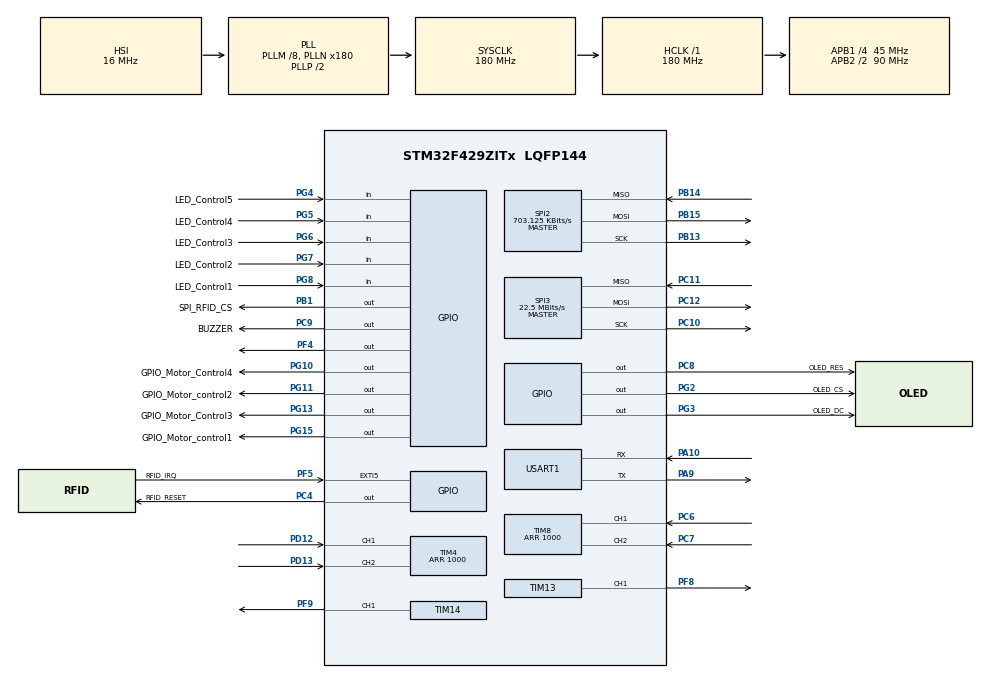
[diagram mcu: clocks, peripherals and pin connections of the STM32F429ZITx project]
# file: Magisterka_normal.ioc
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Mcu.Family=STM32F4
Mcu.Name=STM32F429ZITx
Mcu.Package=LQFP144
NVIC.PriorityGroup=NVIC_PRIORITYGROUP_4
NVIC.TIM8_BRK_TIM12_IRQn=true\:0\:0\:false\:true\:true\:1\:true\:true
NVIC.USART1_IRQn=true\:0\:0\:false\:true\:true\:2\:true\:true
PA10.Mode=Asynchronous
PA10.Signal=USART1_RX
PA13.Mode=Serial_Wire
PA13.Signal=SYS_JTMS-SWDIO
PA14.Mode=Serial_Wire
PA14.Signal=SYS_JTCK-SWCLK
PA9.Mode=Asynchronous
PA9.Signal=USART1_TX
PB1.GPIO_Label=SPI_RFID_CS
PB1.GPIO_PuPd=GPIO_PULLUP
PB1.Signal=GPIO_Output
PB13.Mode=Full_Duplex_Master
PB13.Signal=SPI2_SCK
PB14.Mode=Full_Duplex_Master
PB14.Signal=SPI2_MISO
PB15.Mode=Full_Duplex_Master
PB15.Signal=SPI2_MOSI
PC10.Mode=Full_Duplex_Master
PC10.Signal=SPI3_SCK
PC11.Mode=Full_Duplex_Master
PC11.Signal=SPI3_MISO
PC12.Mode=Full_Duplex_Master
PC12.Signal=SPI3_MOSI
PC4.GPIO_Label=RFID_RESET
PC4.GPIO_PuPd=GPIO_PULLUP
PC4.PinState=GPIO_PIN_SET
PC4.Signal=GPIO_Output
PC6.Signal=S_TIM8_CH1
PC7.Signal=S_TIM8_CH2
PC8.GPIO_Label=OLED_RES
PC8.Signal=GPIO_Output
PC9.GPIO_Label=BUZZER
PC9.PinState=GPIO_PIN_SET
PC9.Signal=GPIO_Output
PD12.Signal=S_TIM4_CH1
PD13.Signal=S_TIM4_CH2
PF4.GPIO_PuPd=GPIO_PULLUP
PF4.PinState=GPIO_PIN_SET
PF4.Signal=GPIO_Output
PF5.GPIO_Label=RFID_IRQ
PF5.Signal=GPXTI5
PF8.Signal=S_TIM13_CH1
PF9.Signal=S_TIM14_CH1
PG10.GPIO_Label=GPIO_Motor_Control4
PG10.Signal=GPIO_Output
PG11.GPIO_Label=GPIO_Motor_control2
PG11.Signal=GPIO_Output
PG13.GPIO_Label=GPIO_Motor_Control3
PG13.Signal=GPIO_Output
PG15.GPIO_Label=GPIO_Motor_control1
PG15.Signal=GPIO_Output
PG2.GPIO_Label=OLED_CS
PG2.Signal=GPIO_Output
PG3.GPIO_Label=OLED_DC
PG3.Signal=GPIO_Output
PG4.GPIO_Label=LED_Control5
PG4.Signal=GPIO_Input
PG5.GPIO_Label=LED_Control4
PG5.Signal=GPIO_Input
PG6.GPIO_Label=LED_Control3
PG6.Signal=GPIO_Input
PG7.GPIO_Label=LED_Control2
PG7.Signal=GPIO_Input
PG8.GPIO_Label=LED_Control1
PG8.Signal=GPIO_Input
ProjectManager.HeapSize=0x200
ProjectManager.StackSize=0x400
ProjectManager.TargetToolchain=TrueSTUDIO
RCC.48MHZClocksFreq_Value=90000000
RCC.AHBFreq_Value=180000000
RCC.APB1CLKDivider=RCC_HCLK_DIV4
RCC.APB1Freq_Value=45000000
RCC.APB1TimFreq_Value=90000000
RCC.APB2CLKDivider=RCC_HCLK_DIV2
RCC.APB2Freq_Value=90000000
RCC.APB2TimFreq_Value=180000000
RCC.CortexFreq_Value=180000000
RCC.HCLKFreq_Value=180000000
RCC.HSE_VALUE=25000000
RCC.HSI_VALUE=16000000
RCC.LSE_VALUE=32768
RCC.PLLM=8
RCC.PLLN=180
RCC.SYSCLKFreq_VALUE=180000000
RCC.SYSCLKSource=RCC_SYSCLKSOURCE_PLLCLK
RCC.VCOOutputFreq_Value=360000000
SH.S_TIM13_CH1.0=TIM13_CH1,PWM Generation1 CH1
SH.S_TIM14_CH1.0=TIM14_CH1,PWM Generation1 CH1
SH.S_TIM4_CH1.0=TIM4_CH1,Encoder_Interface
SH.S_TIM4_CH2.0=TIM4_CH2,Encoder_Interface
SH.S_TIM8_CH1.0=TIM8_CH1,Encoder_Interface
SH.S_TIM8_CH2.0=TIM8_CH2,Encoder_Interface
SPI2.BaudRatePrescaler=SPI_BAUDRATEPRESCALER_64
SPI2.CalculateBaudRate=703.125 KBits/s
SPI2.Direction=SPI_DIRECTION_2LINES
SPI2.Mode=SPI_MODE_MASTER
SPI2.VirtualType=VM_MASTER
SPI3.CalculateBaudRate=22.5 MBits/s
SPI3.Direction=SPI_DIRECTION_2LINES
SPI3.Mode=SPI_MODE_MASTER
SPI3.VirtualType=VM_MASTER
TIM12.AutoReloadPreload=TIM_AUTORELOAD_PRELOAD_ENABLE
TIM12.ClockDivision=TIM_CLOCKDIVISION_DIV2
TIM12.Period=1
TIM12.Prescaler=40000-1
TIM13.AutoReloadPreload=TIM_AUTORELOAD_PRELOAD_ENABLE
TIM13.Channel=TIM_CHANNEL_1
TIM13.ClockDivision=TIM_CLOCKDIVISION_DIV4
TIM13.Period=100
TIM13.Prescaler=45-1
TIM13.Pulse=80
TIM14.AutoReloadPreload=TIM_AUTORELOAD_PRELOAD_ENABLE
TIM14.Channel=TIM_CHANNEL_1
TIM14.ClockDivision=TIM_CLOCKDIVISION_DIV4
TIM14.Period=100
TIM14.Prescaler=45-1
TIM14.Pulse=80
TIM4.EncoderMode=TIM_ENCODERMODE_TI12
TIM4.IC1Filter=15
TIM4.IC1Prescaler=TIM_ICPSC_DIV1
TIM4.IC2Filter=15
TIM4.IC2Prescaler=TIM_ICPSC_DIV1
TIM4.Period=1000
TIM8.EncoderMode=TIM_ENCODERMODE_TI12
TIM8.IC1Filter=15
TIM8.IC2Filter=15
TIM8.Period=1000
USART1.VirtualMode=VM_ASYNC
VP_TIM12_VS_ClockSourceINT.Mode=Internal
VP_TIM13_VS_ClockSourceINT.Mode=Enable_Timer
VP_TIM14_VS_ClockSourceINT.Mode=Enable_Timer
board=custom

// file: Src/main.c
/* USER CODE BEGIN Header */
/**
 ******************************************************************************
 * @file           : main.c
 * @brief          : Main program body
 ******************************************************************************
 * @attention
 *
 * <h2><center>&copy; Copyright (c) 2019 STMicroelectronics.
 * All rights reserved.</center></h2>
 *
 * This software component is licensed by ST under BSD 3-Clause license,
 * the "License"; You may not use this file except in compliance with the
 * License. You may obtain a copy of the License at:
 *                        opensource.org/licenses/BSD-3-Clause
 *
 ******************************************************************************
 */
/* USER CODE END Header */

#include "main.h"
#include "gfxsimulator.h"
#include "spi.h"
#include "tim.h"
#include "usart.h"
#include "gpio.h"

/* USER CODE BEGIN Includes */
#include "SSD1306.h"
#include "Motor_Control.h"
#include "LED_Strip.h"
#include "RC522_driver.h"
#include "ESP_8266_driver.h"
#include "FIFO_driver.h"
#include "DEVICE_driver.h"
#include "string.h"
#include "stdbool.h"
/* USER CODE END Includes */

/* USER CODE BEGIN PV */

volatile double error1;
volatile double error2;
volatile uint8_t FlagPID;
volatile uint16_t Flag_read_card;
volatile uint8_t FlagRead_LedStrip;

volatile int16_t speed = 5;

// variable RFID
unsigned char CardID[4];
unsigned char MyID[4] =
{ 0x6A, 0x08, 0xE7, 0xAB }; //My card on my keys

uint8_t data[50];
uint16_t RFID_size = 0;

/////////ESP
uint8_t Received[100];
bool timeouted;

uint8_t NumberOfTags = 6;
uint8_t TempSectorData[4] =
{ 0xAA, 0xAA, 0xAA, 0xAA };
uint8_t TempData[32];
uint8_t TempTagsData[] =
{ 1, 2, 3, 4, 5, 6, 7, 8, 9, 10, 11, 12, 13, 14, 15, 16, 17, 18, 19, 20, 21, 22,
    23, 24 };

PROTOCOL_FrameTypeDef p_frame;

/**
 * FIFO buffers
 */
volatile uint8_t Fifo_Tx[FIFO_BUF_SIZE];
volatile uint8_t Fifo_Rx[FIFO_BUF_SIZE];
FIFO_ApiTypeDef FIFO_TX =
{ Fifo_Tx, 0, 0, 0, FIFO_BUF_SIZE };
FIFO_ApiTypeDef FIFO_RX =
{ Fifo_Rx, 0, 0, 0, FIFO_BUF_SIZE };

/**
 * Linear Buffers
 */
uint8_t LinBuff[FIFO_BUF_SIZE];
uint8_t TagData[FIFO_BUF_SIZE];
PROTOCOL_LinearBuffer_ApiTypeDef LinearBuffer =
{ LinBuff, 0,
FIFO_BUF_SIZE };
PROTOCOL_LinearBuffer_ApiTypeDef TagDataStuct =
{ TagData, 0,
FIFO_BUF_SIZE };
////////
/* USER CODE END PV */

void SystemClock_Config(void);
void MX_NVIC_Init(void);
/* USER CODE BEGIN PFP */
void HAL_UART_RxCpltCallback(UART_HandleTypeDef *huart) {
  if (USART1 == huart->Instance)
  {

    FIFO_PutByte(&FIFO_RX, *Received);
    if (FIFO_RX.length > 16)
    {
    }
    HAL_UART_Receive_IT(&huart1, Received, 1); // Ponowne w³¹czenie nas³uchiwania
  }
}

void PrepareFrame(uint8_t* data, uint8_t cmd) {
  p_frame.header.dst_address = BROADCAST_ADDRESS;
  p_frame.header.src_address = DEVICE_ADDRESS;
//  PROTOCOL_FrameTypeDef* temp = (PROTOCOL_FrameTypeDef*)data;
  p_frame.header.length = sizeof(PROTOCOL_HeaderTypeDef) + (sizeof(data));
  p_frame.header.command = cmd;
  p_frame.header.response = true;
  uint8_t size = strlen(data);
  memcpy(p_frame.resp_payload.get_data_payload.tags_data, data, size);

}
/* USER CODE END PFP */

/* USER CODE BEGIN 0 */
Motor_InitTypeDef MotorRight;
Motor_InitTypeDef MotorLeft;
MotorPID_InitTypeDef MotorPID_Left;
MotorPID_InitTypeDef MotorPID_Right;
LedStrip_InitTypeDef LedStrip;
LedStrip_Speed_InitTypeDef LedStrip_Speed;
volatile uint8_t watek1, watek2, watek3;
/* USER CODE END 0 */

int main(void) {

  /* MCU Configuration--------------------------------------------------------*/

  /* Reset of all peripherals, Initializes the Flash interface and the Systick. */
  HAL_Init();

  /* Configure the system clock */
  SystemClock_Config();

  /* USER CODE BEGIN SysInit */
  if (SysTick_Config(SystemCoreClock / 1000))
  {
    while (1)
      ;
  }
  /* USER CODE END SysInit */

  /* Initialize all configured peripherals */
  MX_GPIO_Init();
  MX_SPI3_Init();
  MX_TIM13_Init();
  MX_TIM14_Init();
  MX_TIM4_Init();
  MX_TIM8_Init();
  MX_TIM12_Init();
  MX_SPI2_Init();
  MX_USART1_UART_Init();
  MX_GFXSIMULATOR_Init();

  /* Initialize interrupts */
  MX_NVIC_Init();
  /* USER CODE BEGIN 2 */

  ssd1306_init();
  ssd1306_clear_screen(0xFF);
  HAL_Delay(1000);
  ssd1306_clear_screen(0x00);
  ssd1306_hello_word();

  printf("Start\n");
  ITM_SendChar('A');

  HAL_TIM_PWM_Start(&htim13, TIM_CHANNEL_1);
  HAL_TIM_PWM_Start(&htim14, TIM_CHANNEL_1);
  HAL_TIM_Encoder_Start(&htim4, TIM_CHANNEL_ALL);
  HAL_TIM_Encoder_Start(&htim8, TIM_CHANNEL_ALL);

  vLedStrip_Init(&LedStrip);
  vMotor_init(&MotorLeft, &MotorRight);
  vMotorPID_init(&MotorPID_Left, &MotorPID_Right);

  HAL_Delay(2000);

  HAL_NVIC_EnableIRQ(TIM8_BRK_TIM12_IRQn);
  HAL_TIM_Base_Start_IT(&htim12);

  MotorPID_Left.ValueTask = MotorPID_Right.ValueTask = 0;

  HAL_GPIO_WritePin(RFID_RESET_GPIO_Port, RFID_RESET_Pin, SET);

  MFRC522_Init();

  /**
   *  ESP_8266_Init
   */
//  myESP_8266_InitClient(1,"_NETWORK","1QWERTY7",SERVER_PORT);
  myESP_8266_InitClient(1, "ESP8266_EMPE", "1QWERTY7", SERVER_PORT);

  HAL_Delay(1000);

  HAL_StatusTypeDef status = HAL_ERROR;
  HAL_UART_Receive_IT(&huart1, Received, 1);
  FIFO_Clear(&FIFO_RX);
  PROTOCOL_LinBuffClr(&LinearBuffer);

  /*reset TempData */
    memset(TempData, 0x0, sizeof(TempData));
    /* write sektor */
    memcpy(TempData, TempSectorData, sizeof(TempSectorData));
    /* write number of tags */
    memcpy(TempData + sizeof(TempSectorData), &NumberOfTags,
        sizeof(NumberOfTags));
    /* write tags */
    memcpy(TempData + (sizeof(TempSectorData) + sizeof(NumberOfTags)),
        &TempTagsData, sizeof(TempData));
  /* USER CODE END 2 */

  /* Infinite loop */
  while (1)
  {

    /* USER CODE BEGIN 3 */
    //////////////////ESP////////////////////////
    status = PROTOCOL_GetDataFromFifo();
    if (HAL_OK == status)
    {
      status = PROTOCOL_CheckFrame(&LinearBuffer);
    }
    if (HAL_OK == status)
    {
      PROTOCOL_FrameTypeDef* pRecFrame =
          (PROTOCOL_FrameTypeDef*) LinearBuffer.p_lin_buffer;
      switch (pRecFrame->header.command)
      {
      case CMD_STOP:
        myESP8266_SendFrame((uint8_t*)"\r\nRobot CMD_STOP!!\r\n", SERVER_PORT);
        break;
      case CMD_START:
        myESP8266_SendFrame((uint8_t*)"\r\nRobot CMD_START!!\r\n", SERVER_PORT);
        break;
      case CMD_STATUS:
        myESP8266_SendFrame((uint8_t*)"\r\nOK Robot CMD_STATUS!!\r\n", SERVER_PORT);
        break;
      case CMD_CONFIG:
        myESP8266_SendFrame((uint8_t*)"\r\nOK Robot CMD_CONFIG!!\r\n", SERVER_PORT);
        break;
      case CMD_GET_DATA:
//        myESP8266_SendFrame((uint8_t*)"\r\nOK Robot CMD_GET_DATA!!\r\n", SERVER_PORT);
//        PrepareFrame(TempData, CMD_GET_DATA);
//        HAL_UART_Transmit(&esp_uart, &p_frame, p_frame.header.length, 1000);
         HAL_UART_Transmit(&esp_uart, "FFFFcostamAbyDzialaloAAA", strlen("FFFFcostamAbyDzialaloAAA"), 1000);

        break;
      default:
        myESP8266_SendFrame((uint8_t*)"\r\nHello Server, I am STM32 !!\r\n", SERVER_PORT);
        break;
      }
      HAL_Delay(200);
      myESP8266_SendEnd();
      FIFO_Clear(&FIFO_RX);
      PROTOCOL_LinBuffClr(&LinearBuffer);
      status = HAL_ERROR;
    }
    /////////////////ESP_END///////////////////

//////////////////////CLOSE_READ_RFID////////////////////////////////
    if (Flag_Close_RFID > 5000)
    {
      Flag_Close_RFID = 0;
      Semaphor_CloseRFID = 0;
      Semaphor_NoReadRFID = 1;
      Count_NoReadRFID++;
    }
////////END///////////CLOSE_READ_RFID///////////END/////////////////
////////////////RFID///////////////////////
    if (Flag_read_card > 250)
    {
      watek1 = 1;
      Flag_read_card = 0;
      if (MFRC522_Check(CardID) == MI_OK)
      {
        Semaphor_CloseRFID = 0;
        Count_NoReadRFID = 0;
        Semaphor_NoReadRFID = 0;
        Flag_Close_RFID = 0;
        /*
         */
        myESP8266_SendFrame((uint8_t*)"\r\nOK Robot CMD_GET_DATA!!\r\n", SERVER_PORT);
               PrepareFrame(CardID, CMD_GET_DATA);
               HAL_UART_Transmit(&esp_uart, &p_frame, p_frame.header.length, 1000);
        /*
         */
        printf("[%02x-%02x-%02x-%02x] \r\n", CardID[0], CardID[1], CardID[2],
            CardID[3]);
        for (int var = 0; var < 15; ++var)
        {
          HAL_GPIO_TogglePin(BUZZER_GPIO_Port, BUZZER_Pin);
          HAL_Delay(5);
        }
        HAL_GPIO_WritePin(BUZZER_GPIO_Port, BUZZER_Pin, SET);
      } else
      {
        printf("Nie wykryto karty \r\n");
      }
      watek1 = 0;
    }

////////////////RFID_END///////////////////////

    if (FlagRead_LedStrip >= 10)
    {
      watek2 = 1;
      FlagRead_LedStrip = 0;
      vLedStrip_ReadStatus(&LedStrip);
      LedStrip_Speed = vLed_control(&LedStrip, Semaphor_NoReadRFID);
      if ((speed + LedStrip_Speed.LeftSpeed) >= 0)
      {
        MotorPID_Left.ValueTask = speed + LedStrip_Speed.LeftSpeed;
      } else
      {
        MotorPID_Left.ValueTask = 0;
      }
      if ((speed + LedStrip_Speed.RightSpeed) >= 0)
      {
        MotorPID_Right.ValueTask = speed + LedStrip_Speed.RightSpeed;
      } else
      {
        MotorPID_Right.ValueTask = 0;
      }
      vMotorAction_LedStrip(&MotorLeft, &MotorRight, LedStrip_Speed.Action);

      watek2 = 0;
    }

    if (FlagPID >= 10)
    {
      watek3 = 1;
      FlagPID = 0;
      vMotorPID_Control(&MotorPID_Left, &MotorLeft);
      vMotorPID_Control(&MotorPID_Right, &MotorRight);

      error1 = MotorPID_Left.ExecutionValue;
      error2 = MotorPID_Right.ExecutionValue;

      vMotor_SetPWM(&MotorLeft, error1);
      vMotor_SetPWM(&MotorRight, error2);

      vClearCounter(MotorLeft.Tim_Encoder);
      vClearCounter(MotorRight.Tim_Encoder);

      watek3 = 0;
    }
  }
  /* USER CODE END 3 */
}

void SystemClock_Config(void) {
  RCC_OscInitTypeDef RCC_OscInitStruct =
  { 0 };
  RCC_ClkInitTypeDef RCC_ClkInitStruct =
  { 0 };

  /** Configure the main internal regulator output voltage
   */
  __HAL_RCC_PWR_CLK_ENABLE()
  ;
  __HAL_PWR_VOLTAGESCALING_CONFIG(PWR_REGULATOR_VOLTAGE_SCALE1);
  /** Initializes the CPU, AHB and APB busses clocks
   */
  RCC_OscInitStruct.OscillatorType = RCC_OSCILLATORTYPE_HSI;
  RCC_OscInitStruct.HSIState = RCC_HSI_ON;
  RCC_OscInitStruct.HSICalibrationValue = RCC_HSICALIBRATION_DEFAULT;
  RCC_OscInitStruct.PLL.PLLState = RCC_PLL_ON;
  RCC_OscInitStruct.PLL.PLLSource = RCC_PLLSOURCE_HSI;
  RCC_OscInitStruct.PLL.PLLM = 8;
  RCC_OscInitStruct.PLL.PLLN = 180;
  RCC_OscInitStruct.PLL.PLLP = RCC_PLLP_DIV2;
  RCC_OscInitStruct.PLL.PLLQ = 4;
  if (HAL_RCC_OscConfig(&RCC_OscInitStruct) != HAL_OK)
  {
    Error_Handler();
  }
  /** Activate the Over-Drive mode
   */
  if (HAL_PWREx_EnableOverDrive() != HAL_OK)
  {
    Error_Handler();
  }
  /** Initializes the CPU, AHB and APB busses clocks
   */
  RCC_ClkInitStruct.ClockType = RCC_CLOCKTYPE_HCLK | RCC_CLOCKTYPE_SYSCLK
      | RCC_CLOCKTYPE_PCLK1 | RCC_CLOCKTYPE_PCLK2;
  RCC_ClkInitStruct.SYSCLKSource = RCC_SYSCLKSOURCE_PLLCLK;
  RCC_ClkInitStruct.AHBCLKDivider = RCC_SYSCLK_DIV1;
  RCC_ClkInitStruct.APB1CLKDivider = RCC_HCLK_DIV4;
  RCC_ClkInitStruct.APB2CLKDivider = RCC_HCLK_DIV2;

  if (HAL_RCC_ClockConfig(&RCC_ClkInitStruct, FLASH_LATENCY_5) != HAL_OK)
  {
    Error_Handler();
  }
}

/**
 * @brief NVIC Configuration.
 * @retval None
 */
void MX_NVIC_Init(void) {
  /* TIM8_BRK_TIM12_IRQn interrupt configuration */
  HAL_NVIC_SetPriority(TIM8_BRK_TIM12_IRQn, 0, 0);
  HAL_NVIC_EnableIRQ(TIM8_BRK_TIM12_IRQn);
  /* USART1_IRQn interrupt configuration */
  HAL_NVIC_SetPriority(USART1_IRQn, 0, 0);
  HAL_NVIC_EnableIRQ(USART1_IRQn);
}

/* USER CODE BEGIN 4 */
void HAL_TIM_PeriodElapsedCallback(TIM_HandleTypeDef *htim) {
  if (htim->Instance == TIM12)
    Flag_read_card++;
  FlagPID++;
  FlagRead_LedStrip++;
  if (Semaphor_CloseRFID)
  {
    Flag_Close_RFID++;
  }
}
/* USER CODE END 4 */

void Error_Handler(void) {
}

/************************ (C) COPYRIGHT STMicroelectronics *****END OF FILE****/
